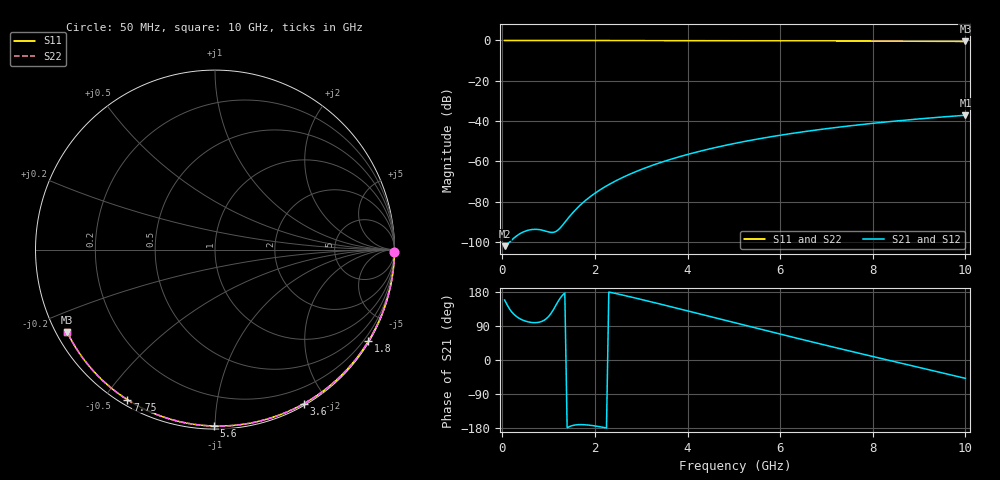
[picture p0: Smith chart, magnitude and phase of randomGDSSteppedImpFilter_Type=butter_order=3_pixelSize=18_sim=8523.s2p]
! freq	dB(S11)	phase(S11)	dB(S12)	phase(S12)
!  dB(S21)	phase(S21)	dB(S22)	phase(S22)
!S-par simulation data
#  GHz  S  DB  R 50
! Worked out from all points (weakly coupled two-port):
!   200 points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, 50 MHz to 10 GHz, reference 50 ohm
!   highest |S21| = -37.10 dB at 10 GHz (marker M1); lowest = -102.0 dB at 50 MHz (marker M2)
!   lowest |S11| = -0.5 dB at 10 GHz (marker M3), VSWR 34.13, Z = 1.56 - j13 ohm
!   |S11| at or under -10 dB: nowhere
!   |S22| runs from -0.5 to 0.0 dB; largest |S21 - S12| = 0
!   S11 on the Smith chart (normalised r, x): 50 MHz: open; 1.8 GHz: 0.03, -3.63; 3.6 GHz: 0.02, -1.73; 5.6 GHz: 0.02, -0.99; 7.75 GHz: 0.02, -0.57; 10 GHz: 0.03, -0.26
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0.05  -0.00 -0.9  -102.01 158.4  -102.01 158.4  -0.00 -0.9
0.45  -0.01 -7.8  -95.00 104.9  -95.00 104.9  -0.01 -7.8
0.9  -0.02 -15.6  -94.30 104.6  -94.30 104.6  -0.02 -15.6
1.3  -0.03 -22.4  -91.63 170.9  -91.63 170.9  -0.03 -22.4
1.75  -0.04 -30.0  -80.25 -170.7  -80.25 -170.7  -0.04 -30.0
1.8  -0.04 -30.8  -79.27 -171.1  -79.27 -171.1  -0.04 -30.8
1.95  -0.04 -33.3  -76.59 -173.1  -76.59 -173.1  -0.04 -33.4
2.1  -0.05 -35.8  -74.25 -175.9  -74.25 -175.9  -0.05 -35.9
2.3  -0.05 -39.2  -71.48 179.4  -71.48 179.4  -0.05 -39.2
2.5  -0.05 -42.4  -69.04 174.1  -69.04 174.1  -0.05 -42.5
2.9  -0.06 -49.0  -64.89 162.8  -64.89 162.8  -0.06 -49.0
3.4  -0.08 -57.0  -60.66 147.9  -60.66 147.9  -0.08 -57.0
3.6  -0.08 -60.1  -59.19 141.9  -59.19 141.9  -0.08 -60.1
4.3  -0.10 -71.0  -54.74 120.5  -54.74 120.5  -0.10 -71.0
5.05  -0.13 -82.2  -50.90 97.5  -50.90 97.5  -0.13 -82.3
5.6  -0.15 -90.3  -48.53 80.6  -48.53 80.6  -0.15 -90.3
6.15  -0.18 -98.2  -46.46 63.9  -46.46 63.9  -0.18 -98.2
6.7  -0.21 -105.9  -44.64 47.4  -44.64 47.4  -0.21 -105.9
7.75  -0.28 -120.3  -41.71 16.5  -41.71 16.5  -0.28 -120.3
8.35  -0.33 -128.4  -40.28 -0.9  -40.28 -0.9  -0.33 -128.4
9.2  -0.41 -139.8  -38.50 -25.3  -38.50 -25.3  -0.41 -139.9
10  -0.51 -150.7  -37.10 -48.4  -37.10 -48.4  -0.51 -150.8
